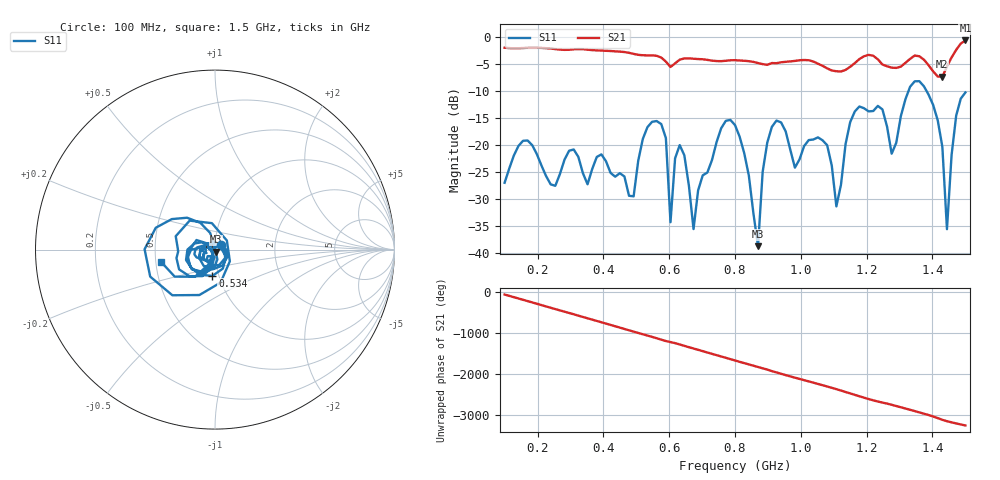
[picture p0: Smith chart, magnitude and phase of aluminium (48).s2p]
! NanoVNA-App
! Date: 2025-09-26 09:58:26
! Start: 100MHz Stop: 1,5GHz Points: 101
! S-Parameter data: F S11 S21 S12 S22
# Hz S RI R 50
!  Frequency  S11_Real  S11_Imag  S21_Real  S21_Imag  S12_Real  S12_Imag  S22_Real  S22_Imag
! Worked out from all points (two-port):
!   101 points, 100 MHz to 1.5 GHz, reference 50 ohm
!   highest |S21| = -0.57 dB at 1.5 GHz (marker M1); lowest = -7.3 dB at 1.43 GHz (marker M2)
!   |S21| within 3 dB of the highest: start of sweep to 568.5 MHz; 1.19 GHz to 1.223 GHz (33.11 MHz wide, 2.74 % of centre) (the widest 2 of 4)
!   lowest |S11| = -38.8 dB at 870 MHz (marker M3), VSWR 1.02, Z = 50.3 - j1.11 ohm
!   |S11| at or under -10 dB: start of sweep to 1.327 GHz; 1.382 GHz to end of sweep
!   S12 and S22 are empty: the file has one direction only
!   S11 on the Smith chart (normalised r, x): 100 MHz: 1.07, +0.06; 534 MHz: 0.93, -0.28; 1.5 GHz: 0.53, -0.08
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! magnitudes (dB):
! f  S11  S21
! 100 MHz  -27.0  -1.9
! 156 MHz  -19.2  -2.0
! 338 MHz  -25.2  -2.2
! 492 MHz  -29.5  -3.1
! 534 MHz  -16.7  -3.3
! 576 MHz  -16.1  -3.7
! 590 MHz  -18.7  -4.5
! 604 MHz  -34.3  -5.5
! 632 MHz  -20.0  -4.1
! 674 MHz  -35.6  -4.0
! 800 MHz  -16.3  -4.2
! 870 MHz  -38.8  -4.8
! 912 MHz  -16.6  -4.8
! 1.038 GHz  -19.0  -4.5
! 1.108 GHz  -31.4  -6.3
! 1.178 GHz  -12.8  -4.0
! 1.276 GHz  -21.6  -5.6
! 1.346 GHz  -8.2  -3.4
! 1.43 GHz  -20.3  -7.3
! 1.444 GHz  -35.6  -5.4
! 1.472 GHz  -14.5  -2.3
! 1.5 GHz  -10.2  -0.6
